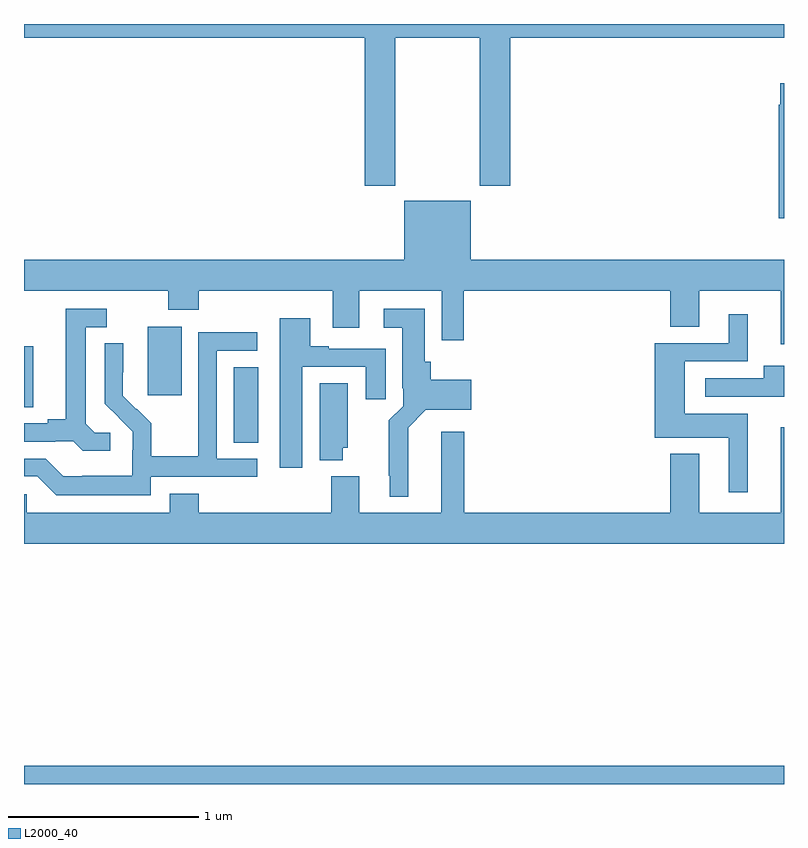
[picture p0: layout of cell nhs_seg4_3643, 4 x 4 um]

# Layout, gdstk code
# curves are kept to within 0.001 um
import gdstk
lib = gdstk.Library(unit=1e-6, precision=1e-09)
def R(c, l, rs):  # rectangles x0, y0, x1, y1
    for r in rs: c.add(gdstk.rectangle(r[:2], r[2:], *l))
def P(c, l, *ps):  # polygons
    for p in ps: c.add(gdstk.Polygon(p, *l))
L2000_40 = (2000, 40)

nhs_seg4_3643 = lib.new_cell('nhs_seg4_3643')
R(nhs_seg4_3643, L2000_40, [(303,784.9,307,784.996), (304.103,786.697,304.234,787.094), (303,786.883,303.049,787.203), (303.65,786.945,303.829,787.306)])
P(nhs_seg4_3643, L2000_40, [(303,788.828),(304.793,788.828),(304.793,788.049),(304.953,788.049),(304.953,788.828),(305.398,788.828),(305.398,788.049),(305.558,788.049),(305.558,788.828),(307,788.828),(307,788.9),(303,788.9)],
  [(307,788.587),(306.981,788.587),(306.981,788.474),(306.973,788.474),(306.973,787.877),(307,787.877)],
  [(307,787.66),(305.35,787.66),(305.35,787.969),(305,787.969),(305,787.66),(303,787.66),(303,787.496),(303.76,787.496),(303.76,787.397),(303.92,787.397),(303.92,787.496),(304.625,787.496),(304.625,787.302),(304.765,787.302),(304.765,787.496),(305.199,787.496),(305.199,787.236),(305.315,787.236),(305.315,787.496),(306.401,787.496),(306.401,787.306),(306.553,787.306),(306.553,787.496),(306.983,787.496),(306.983,787.215),(307,787.215)],
  [(305.023,786.776),(305.115,786.869),(305.353,786.869),(305.353,787.027),(305.141,787.027),(305.141,787.122),(305.11,787.122),(305.11,787.402),(304.893,787.402),(304.893,787.301),(304.991,787.301),(304.991,786.982),(304.995,786.982),(304.995,786.888),(304.921,786.814),(304.921,786.523),(304.925,786.523),(304.925,786.413),(305.023,786.413)],
  [(303.454,786.75),(303.372,786.75),(303.325,786.797),(303.325,787.305),(303.436,787.305),(303.436,787.401),(303.221,787.401),(303.221,786.821),(303.125,786.821),(303.125,786.798),(303,786.798),(303,786.702),(303.164,786.702),(303.164,786.705),(303.258,786.705),(303.31,786.653),(303.454,786.653)],
  [(306.808,786.85),(306.478,786.85),(306.478,787.125),(306.808,787.125),(306.808,787.372),(306.71,787.372),(306.71,787.221),(306.32,787.221),(306.32,786.722),(306.71,786.722),(306.71,786.435),(306.808,786.435)],
  [(304.465,787.095),(304.799,787.095),(304.799,786.924),(304.903,786.924),(304.903,787.191),(304.603,787.191),(304.603,787.204),(304.507,787.204),(304.507,787.351),(304.346,787.351),(304.346,786.564),(304.465,786.564)],
  [(303.666,786.516),(304.228,786.516),(304.228,786.612),(304.014,786.612),(304.014,787.179),(304.228,787.179),(304.228,787.278),(303.918,787.278),(303.918,786.848),(303.916,786.848),(303.916,786.625),(303.671,786.625),(303.671,786.799),(303.594,786.876),(303.591,786.873),(303.521,786.944),(303.522,787.22),(303.426,787.22),(303.426,786.902),(303.572,786.754),(303.572,786.657),(303.57,786.657),(303.57,786.523),(303.307,786.523),(303.307,786.519),(303.207,786.519),(303.114,786.612),(303,786.612),(303,786.519),(303.069,786.519),(303.169,786.419),(303.666,786.419)],
  [(307,787.102),(306.893,787.102),(306.893,787.035),(306.585,787.035),(306.585,786.939),(306.897,786.939),(306.897,786.938),(307,786.938)],
  [(304.678,786.669),(304.705,786.669),(304.705,787.01),(304.556,787.01),(304.556,786.605),(304.678,786.605)],
  [(307,786.778),(306.983,786.778),(306.983,786.328),(306.553,786.328),(306.553,786.637),(306.401,786.637),(306.401,786.328),(305.318,786.328),(305.318,786.754),(305.195,786.754),(305.195,786.328),(304.765,786.328),(304.765,786.52),(304.618,786.52),(304.618,786.328),(303.92,786.328),(303.92,786.427),(303.767,786.427),(303.767,786.328),(303.015,786.328),(303.015,786.426),(303,786.426),(303,786.164),(307,786.164)])

lib.write_gds('nhs_seg4_3643.gds')
